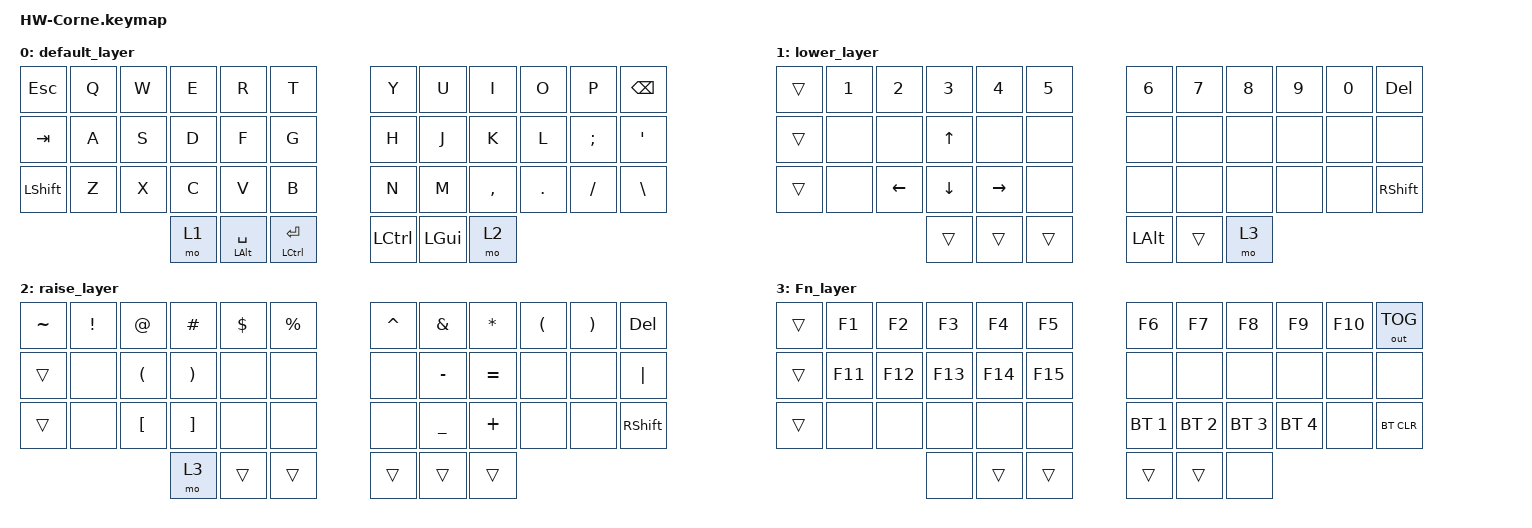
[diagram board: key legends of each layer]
/*
 * Copyright (c) 2020 The ZMK Contributors
 *
 * SPDX-License-Identifier: MIT
 */

#include <behaviors.dtsi>
#include <dt-bindings/zmk/keys.h>
#include <dt-bindings/zmk/bt.h>
#include <dt-bindings/zmk/outputs.h>


/ {
        behaviors {
                th: Tap_Hold{
                        compatible = "zmk,behavior-hold-tap";
                        #binding-cells = <2>;
                        tapping-term-ms = <100>;
                        quick-tap-ms = <100>;
                        flavor = "tap-preferred";
                        bindings = <&kp>, <&kp>;
                };
        };
};

/ {
        keymap {
                compatible = "zmk,keymap";
                default_layer {
// -----------------------------------------------------------------------------------------
// |  ESC |  Q  |  W  |  E  |  R  |  T  |               |  Y  |  U   |  I  |  O  |  P  | BKSP |
// | TAB  |  A  |  S  |  D  |  F  |  G  |               |  H  |  J   |  K  |  L  |  ;  |  '   |
// | SHFT |  Z  |  X  |  C  |  V  |  B  |               |  N  |  M   |  ,  |  .  |  /  | \  |
//                    | LWR | SPC/ALT | ENT/CTRL |   | CTRL | GUI  | RSE |
                        bindings = <
   &kp ESC   &kp Q &kp W &kp E &kp R &kp T   &kp Y &kp U  &kp I     &kp O   &kp P    &kp BSPC
   &kp TAB &kp A &kp S &kp D &kp F &kp G   &kp H &kp J  &kp K     &kp L   &kp SEMI &kp SQT
   &kp LSHFT &kp Z &kp X &kp C &kp V &kp B   &kp N &kp M  &kp COMMA &kp DOT &kp FSLH &kp BSLH
                  &mo 1 &th LALT SPACE  &th LCTRL RET   &kp LCTRL &kp LGUI &mo 2
                        >;
                };
                lower_layer {
// -----------------------------------------------------------------------------------------
// |  ESC |  1  |  2  |  3  |  4  |  5  |   |  6  |  7  |  8  |  9  |  0  | DEL |
// | TAB  |     |     | UP  |     |     |   |     |     |     |     |     |     |
// | SHFT |     | LFT | DWN | RGT |     |   |     |     |     |     |     | SHFT|
//                    |     |     |     |   |  ALT  |     |  R3 |
                        bindings = <
   &trans    &kp N1       &kp N2       &kp N3       &kp N4       &kp N5         &kp N6   &kp N7   &kp N8 &kp N9    &kp N0 &kp DEL
   &trans &none  &none &kp UP &none &none      &none &none &none &none &none &none
   &trans  &none   &kp LEFT       &kp DOWN       &kp RIGHT       &none         &none   &none   &none &none   &none &kp RSHFT
                                    &trans    &trans       &trans     &kp LALT  &trans   &mo 3
                        >;
                };

                raise_layer {
// -----------------------------------------------------------------------------------------
// |  ~   |  !  |  @  |  #  |  $  |  %  |   |  ^  |  &  |  *  |  (  |  )  | DEL |
// |  TAB |     |  (  |  )  |     |     |   |     |  -  |  =  |     |     | "|"  |
// | SHFT |     |  [  |  ]  |     |     |   |     |  _  |  +  |     |     | SHFT |
//                    |  R3  |    |     |   |     |     |     |
                        bindings = <
   &kp TILDE  &kp EXCL &kp AT &kp HASH &kp DLLR &kp PRCNT   &kp CARET &kp AMPS  &kp ASTRK &kp LPAR &kp RPAR &kp DEL
   &trans &none   &kp LPAR &kp RPAR   &none   &none    &none  &kp MINUS &kp EQUAL  &none &none &kp PIPE
   &trans &none   &kp LBKT &kp RBKT   &none   &none    &none  &kp UNDER &kp PLUS  &none &none &kp RSHFT
                             &mo 3 &trans   &trans   &trans  &trans    &trans
                        >;
                };
                Fn_layer {
// -----------------------------------------------------------------------------------------
// | ESC  |  F1 |  F2 | F3  | F4  | F5  |   | F6  | F7  | F8  | F9  | F10 | OUT_Tog |
// | TAB  | F11 | F12 | F13 | F14 | F15 |   |     |     |     |     |     |      |
// | SHFT |     |     |     |     |     |   | BT1 | BT2 | BT3 | BT4 |     | BTCLR|
//                    |     |     |     |   |     |     |     |
                        bindings = <
   &trans    &kp F1       &kp F2       &kp F3       &kp F4       &kp F5         &kp F6   &kp F7   &kp F8 &kp F9    &kp F10 &out OUT_TOG
   &trans &kp F11 &kp F12 &kp F13 &kp F14 &kp F15  &none &none &none &none &none &none
   &trans  &none  &none  &none   &none   &none     &bt BT_SEL 1   &bt BT_SEL 2   &bt BT_SEL 3 &bt BT_SEL 4  &none &bt BT_CLR
                                    &none    &trans       &trans     &trans  &trans   &none
                        >;
                };
        };
};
